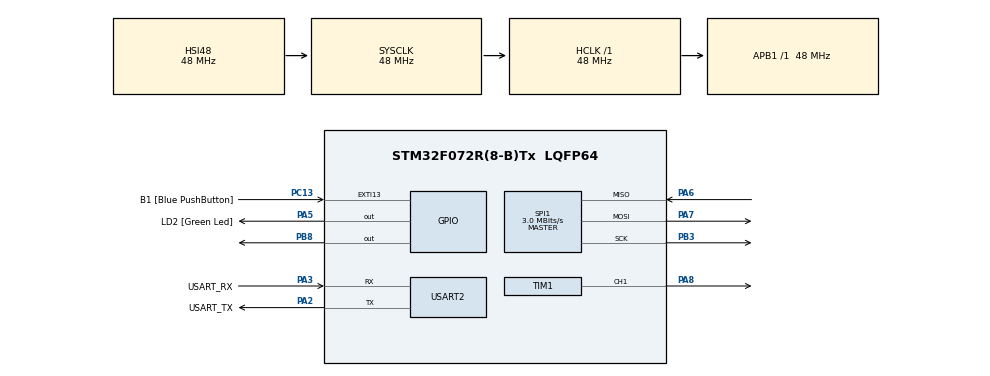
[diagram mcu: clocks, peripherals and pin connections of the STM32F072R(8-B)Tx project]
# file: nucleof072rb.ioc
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Mcu.Family=STM32F0
Mcu.Name=STM32F072R(8-B)Tx
Mcu.Package=LQFP64
PA13.GPIO_Label=TMS
PA13.Mode=Serial_Wire
PA13.Signal=SYS_SWDIO
PA14.GPIO_Label=TCK
PA14.Mode=Serial_Wire
PA14.Signal=SYS_SWCLK
PA2.GPIO_Label=USART_TX
PA2.GPIO_Mode=GPIO_MODE_AF_PP
PA2.GPIO_PuPd=GPIO_NOPULL
PA2.GPIO_Speed=GPIO_SPEED_FREQ_LOW
PA2.Mode=Asynchronous
PA2.Signal=USART2_TX
PA3.GPIO_Label=USART_RX
PA3.GPIO_Mode=GPIO_MODE_AF_PP
PA3.GPIO_PuPd=GPIO_NOPULL
PA3.GPIO_Speed=GPIO_SPEED_FREQ_LOW
PA3.Mode=Asynchronous
PA3.Signal=USART2_RX
PA5.GPIO_Label=LD2 [Green Led]
PA5.GPIO_Mode=GPIO_MODE_OUTPUT_PP
PA5.GPIO_PuPd=GPIO_NOPULL
PA5.GPIO_Speed=GPIO_SPEED_FREQ_LOW
PA5.Signal=GPIO_Output
PA6.Mode=Full_Duplex_Master
PA6.Signal=SPI1_MISO
PA7.Mode=Full_Duplex_Master
PA7.Signal=SPI1_MOSI
PA8.Signal=S_TIM1_CH1
PB3.Mode=Full_Duplex_Master
PB3.Signal=SPI1_SCK
PB8.Signal=GPIO_Output
PC13.GPIO_Label=B1 [Blue PushButton]
PC13.GPIO_ModeDefaultEXTI=GPIO_MODE_IT_FALLING
PC13.Signal=GPXTI13
PC14-OSC32_IN.Mode=LSE-External-Oscillator
PC14-OSC32_IN.Signal=RCC_OSC32_IN
PC15-OSC32_OUT.Mode=LSE-External-Oscillator
PC15-OSC32_OUT.Signal=RCC_OSC32_OUT
PF0-OSC_IN.Mode=HSE-External-Clock-Source
PF0-OSC_IN.Signal=RCC_OSC_IN
PF1-OSC_OUT.Signal=RCC_OSC_OUT
ProjectManager.HeapSize=0x200
ProjectManager.StackSize=0x400
ProjectManager.TargetToolchain=STM32CubeIDE
RCC.AHBFreq_Value=48000000
RCC.APB1Freq_Value=48000000
RCC.APB1TimFreq_Value=48000000
RCC.FLatency-AdvancedSettings=FLASH_LATENCY_1
RCC.HCLKFreq_Value=48000000
RCC.PLLDivider=RCC_PREDIV_DIV2
RCC.PLLMUL=RCC_PLL_MUL12
RCC.PREFETCH_ENABLE-AdvancedSettings=1
RCC.SYSCLKFreq_VALUE=48000000
RCC.SYSCLKSource=RCC_SYSCLKSOURCE_HSI48
SH.S_TIM1_CH1.0=TIM1_CH1,PWM Generation1 CH1
SPI1.BaudRatePrescaler=SPI_BAUDRATEPRESCALER_16
SPI1.CLKPhase=SPI_PHASE_2EDGE
SPI1.CLKPolarity=SPI_POLARITY_HIGH
SPI1.CalculateBaudRate=3.0 MBits/s
SPI1.DataSize=SPI_DATASIZE_8BIT
SPI1.Direction=SPI_DIRECTION_2LINES
SPI1.FirstBit=SPI_FIRSTBIT_MSB
SPI1.Mode=SPI_MODE_MASTER
SPI1.VirtualType=VM_MASTER
TIM1.Channel-PWM\ Generation1\ CH1=TIM_CHANNEL_1
TIM1.Period=64000
TIM1.Prescaler=14
USART2.VirtualMode=VM_ASYNC
USART2.VirtualMode-Asynchronous=VM_ASYNC
VP_TIM1_VS_ClockSourceINT.Mode=Internal
board=NUCLEO-F072RB

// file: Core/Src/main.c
/* USER CODE BEGIN Header */
/**
  ******************************************************************************
  * @file           : main.c
  * @brief          : Main program body
  ******************************************************************************
  * @attention
  *
  * <h2><center>&copy; Copyright (c) 2021 STMicroelectronics.
  * All rights reserved.</center></h2>
  *
  * This software component is licensed by ST under BSD 3-Clause license,
  * the "License"; You may not use this file except in compliance with the
  * License. You may obtain a copy of the License at:
  *                        opensource.org/licenses/BSD-3-Clause
  *
  ******************************************************************************
  */
/* USER CODE END Header */
#include "main.h"
#include "spi.h"
#include "tim.h"
#include "usart.h"
#include "gpio.h"

void SystemClock_Config(void);

int main(void)
{

  /* MCU Configuration--------------------------------------------------------*/

  /* Reset of all peripherals, Initializes the Flash interface and the Systick. */
  HAL_Init();

  /* Configure the system clock */
  SystemClock_Config();

  /* Initialize all configured peripherals */
  MX_GPIO_Init();
  MX_USART2_UART_Init();
  MX_SPI1_Init();
  MX_TIM1_Init();
  /* USER CODE BEGIN 2 */
  //set the max size of the bit transmission
  const uint16_t max_bit_size = 1023;

  uint32_t dutyCycle = 3200;

  //transmit buffer with start bit (0000 0001), bit flag (1000 0000), zero bit (0000 0000).
    uint8_t tx_buffer[3] = {0x01, 0x80, 0x00};

  //empty buffer to receive output
  uint8_t rx_buffer[3] = {0};

  uint8_t last_two_bits = 0;
  uint16_t adc_out_val = 0;
  uint16_t adc_count_val = 0;

  //Set the CCR Value
  TIM1->CCR1 = dutyCycle;

  //Starts the timer
  HAL_TIM_PWM_Start(&htim1, TIM_CHANNEL_1);

  //Ensures CS is set to high before starting program
  HAl_GPIO_WritePin(GPIOB, GPIO_PIN_3, GPIO_PIN_SET);

  /* USER CODE END 2 */

  /* Infinite loop */
  /* USER CODE BEGIN WHILE */
  while (1)
  {
	  //sets Chip Select (CS) to low because it idles in high
	  HAL_GPIO_WritePin(GPIOB, GPIO_PIN_3, GPIO_PIN_RESET);

	  //send tx_buffer and receive rx_buffer
	  HAL_SPI_TransmitReceive(&hspi1, tx_buffer, rx_buffer, 3, HAL_MAX_DELAY);

	  //sets Chip Select (CS) to high
	  HAL_GPIO_WritePin(GPIOB, GPIO_PIN_3, GPIO_PIN_SET);

	  //mask all but the last two bits of the second eight bits
	  last_two_bits = rx_buffer[1] & 0x03;

	  //moves all last two bits over and adds the third eight bits to it
	  adc_out_val = (last_two_bits << 8 | rx_buffer[2]);

	  //ADC value moved into 5-10% range of clock period
	  adc_count_val = (0.5 + ((float)adc_out_val/max_bit_size)*0.5)*__HAL_TIM_GET_AUTORELOAD(&htim1);

	  __HAL_TIM_SET_COMPARE(&htim1, TIM_CHANNEL_1, adc_count_val);

    /* USER CODE END WHILE */

  }
}

void SystemClock_Config(void)
{
  RCC_OscInitTypeDef RCC_OscInitStruct = {0};
  RCC_ClkInitTypeDef RCC_ClkInitStruct = {0};
  RCC_PeriphCLKInitTypeDef PeriphClkInit = {0};

  /** Initializes the RCC Oscillators according to the specified parameters
  * in the RCC_OscInitTypeDef structure.
  */
  RCC_OscInitStruct.OscillatorType = RCC_OSCILLATORTYPE_HSI48;
  RCC_OscInitStruct.HSI48State = RCC_HSI48_ON;
  RCC_OscInitStruct.PLL.PLLState = RCC_PLL_NONE;
  if (HAL_RCC_OscConfig(&RCC_OscInitStruct) != HAL_OK)
  {
    Error_Handler();
  }
  /** Initializes the CPU, AHB and APB buses clocks
  */
  RCC_ClkInitStruct.ClockType = RCC_CLOCKTYPE_HCLK|RCC_CLOCKTYPE_SYSCLK
                              |RCC_CLOCKTYPE_PCLK1;
  RCC_ClkInitStruct.SYSCLKSource = RCC_SYSCLKSOURCE_HSI48;
  RCC_ClkInitStruct.AHBCLKDivider = RCC_SYSCLK_DIV1;
  RCC_ClkInitStruct.APB1CLKDivider = RCC_HCLK_DIV1;

  if (HAL_RCC_ClockConfig(&RCC_ClkInitStruct, FLASH_LATENCY_1) != HAL_OK)
  {
    Error_Handler();
  }
  PeriphClkInit.PeriphClockSelection = RCC_PERIPHCLK_USART2;
  PeriphClkInit.Usart2ClockSelection = RCC_USART2CLKSOURCE_PCLK1;
  if (HAL_RCCEx_PeriphCLKConfig(&PeriphClkInit) != HAL_OK)
  {
    Error_Handler();
  }
}

void Error_Handler(void)
{
  __disable_irq();
  while (1)
  {
  }
}

/************************ (C) COPYRIGHT STMicroelectronics *****END OF FILE****/
